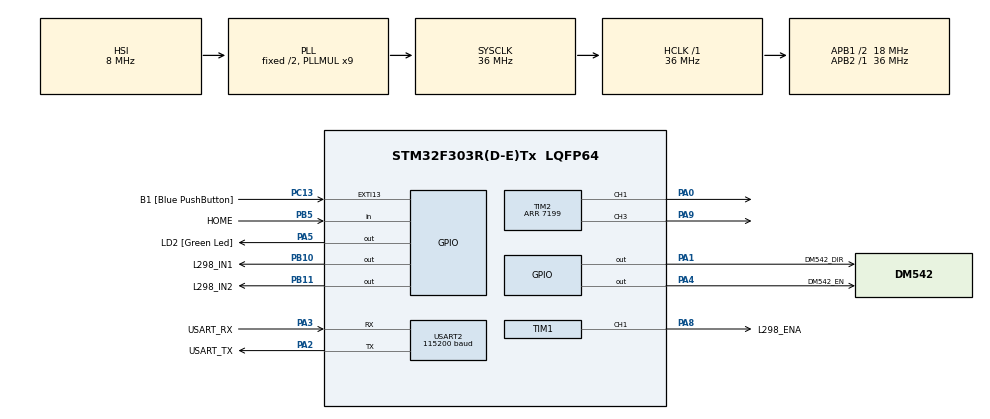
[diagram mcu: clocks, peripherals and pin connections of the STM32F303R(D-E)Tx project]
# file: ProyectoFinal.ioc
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Mcu.Family=STM32F3
Mcu.Name=STM32F303R(D-E)Tx
Mcu.Package=LQFP64
NVIC.PriorityGroup=NVIC_PRIORITYGROUP_0
NVIC.TIM2_IRQn=true\:0\:0\:false\:false\:true\:true\:true\:true
PA0.Signal=S_TIM2_CH1_ETR
PA1.GPIO_Label=DM542_DIR
PA1.Signal=GPIO_Output
PA13.GPIO_Label=TMS
PA13.Mode=Serial_Wire
PA13.Signal=SYS_JTMS-SWDIO
PA14.GPIO_Label=TCK
PA14.Mode=Serial_Wire
PA14.Signal=SYS_JTCK-SWCLK
PA2.GPIO_Label=USART_TX
PA2.GPIO_Mode=GPIO_MODE_AF_PP
PA2.GPIO_PuPd=GPIO_NOPULL
PA2.GPIO_Speed=GPIO_SPEED_FREQ_LOW
PA2.Mode=Asynchronous
PA2.Signal=USART2_TX
PA3.GPIO_Label=USART_RX
PA3.GPIO_Mode=GPIO_MODE_AF_PP
PA3.GPIO_PuPd=GPIO_NOPULL
PA3.GPIO_Speed=GPIO_SPEED_FREQ_LOW
PA3.Mode=Asynchronous
PA3.Signal=USART2_RX
PA4.GPIO_Label=DM542_EN
PA4.Signal=GPIO_Output
PA5.GPIO_Label=LD2 [Green Led]
PA5.GPIO_Mode=GPIO_MODE_OUTPUT_PP
PA5.GPIO_PuPd=GPIO_PULLUP
PA5.GPIO_Speed=GPIO_SPEED_FREQ_LOW
PA5.Signal=GPIO_Output
PA8.GPIO_Label=L298_ENA
PA8.Signal=S_TIM1_CH1
PA9.Signal=S_TIM2_CH3
PB10.GPIO_Label=L298_IN1
PB10.Signal=GPIO_Output
PB11.GPIO_Label=L298_IN2
PB11.Signal=GPIO_Output
PB13.Signal=TIM1_CH1N
PB3.GPIO_Label=SWO
PB3.Signal=SYS_JTDO-TRACESWO
PB5.GPIO_Label=HOME
PB5.Signal=GPIO_Input
PC13.GPIO_Label=B1 [Blue PushButton]
PC13.GPIO_ModeDefaultEXTI=GPIO_MODE_IT_FALLING
PC13.Signal=GPXTI13
PC14-OSC32_IN.Mode=LSE-External-Oscillator
PC14-OSC32_IN.Signal=RCC_OSC32_IN
PC15-OSC32_OUT.Mode=LSE-External-Oscillator
PC15-OSC32_OUT.Signal=RCC_OSC32_OUT
PF0-OSC_IN.Mode=HSE-External-Clock-Source
PF0-OSC_IN.Signal=RCC_OSC_IN
PF1-OSC_OUT.Signal=RCC_OSC_OUT
ProjectManager.HeapSize=0x200
ProjectManager.StackSize=0x400
ProjectManager.TargetToolchain=STM32CubeIDE
RCC.AHBFreq_Value=36000000
RCC.APB1CLKDivider=RCC_HCLK_DIV2
RCC.APB1Freq_Value=18000000
RCC.APB1TimFreq_Value=36000000
RCC.APB2Freq_Value=36000000
RCC.APB2TimFreq_Value=36000000
RCC.CortexFreq_Value=36000000
RCC.HCLKFreq_Value=36000000
RCC.HSE_VALUE=8000000
RCC.HSI_VALUE=8000000
RCC.PLLM=8
RCC.PLLMUL=RCC_PLL_MUL9
RCC.PLLN=336
RCC.PLLP=RCC_PLLP_DIV4
RCC.PLLQ=7
RCC.RCC_PLLsource_Clock_Source_FROM_HSE=RCC_HSE_PREDIV_DIV2
RCC.SYSCLKFreq_VALUE=36000000
RCC.SYSCLKSourceVirtual=RCC_SYSCLKSOURCE_PLLCLK
RCC.USBFreq_Value=36000000
SH.S_TIM1_CH1.0=TIM1_CH1,PWM Generation1 CH1
SH.S_TIM2_CH1_ETR.0=TIM2_CH1,PWM Generation1 CH1
SH.S_TIM2_CH3.0=TIM2_CH3,PWM Generation3 CH3
TIM1.AutoReloadPreload=TIM_AUTORELOAD_PRELOAD_ENABLE
TIM1.Channel-PWM\ Generation1\ CH1=TIM_CHANNEL_1
TIM1.CounterMode=TIM_COUNTERMODE_UP
TIM1.Period=7199
TIM1.Pulse-PWM\ Generation1\ CH1=1800
TIM2.AutoReloadPreload=TIM_AUTORELOAD_PRELOAD_ENABLE
TIM2.Channel-PWM\ Generation1\ CH1=TIM_CHANNEL_1
TIM2.Channel-PWM\ Generation3\ CH3=TIM_CHANNEL_3
TIM2.Period=7199
TIM2.Pulse-PWM\ Generation1\ CH1=3600
USART2.BaudRate=115200
USART2.VirtualMode-Asynchronous=VM_ASYNC
board=NUCLEO-F303RE

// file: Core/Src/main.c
/* USER CODE BEGIN Header */
/**
  ******************************************************************************
  * @file           : main.c
  * @brief          : Main program body
  ******************************************************************************
  * @attention
  *
  * Copyright (c) 2025 STMicroelectronics.
  * All rights reserved.
  *
  * This software is licensed under terms that can be found in the LICENSE file
  * in the root directory of this software component.
  * If no LICENSE file comes with this software, it is provided AS-IS.
  *
  ******************************************************************************
  */
/* USER CODE END Header */
#include "main.h"

/* USER CODE BEGIN Includes */
#include <math.h>
#include <stdbool.h>
#include <stdarg.h>
#include <stdio.h>
#include <stdlib.h>
#include <string.h>

/* USER CODE END Includes */

/* USER CODE BEGIN PD */

// ---------- MOVIMIENTO / REBOTE ----------
#define BOUNCE_DWELL_MS      120   // pausa breve al rebotar para evitar golpeteos mecánicos
#define LIMIT_CLEAR_MM       0.5f  // margen para rearmar la detección de límite (evita contar doble)

// ---------- EXTERN TIM HANDLES ----------
extern TIM_HandleTypeDef htim2;  // STEP (DM542) - TIM2 CH1
extern TIM_HandleTypeDef htim1;  // PWM H-Bridge    - TIM1 CH1/CH1N

// ---------- PINS ----------
#define DM542_DIR_Port      GPIOA
#define DM542_DIR_Pin       GPIO_PIN_1
#define DM542_EN_Port       GPIOA
#define DM542_EN_Pin        GPIO_PIN_4

#define BUTTON_Port         GPIOC     // Nucleo B1
#define BUTTON_Pin          GPIO_PIN_13

// Velocidad de homing (Hz de STEP)
#define FSTEP_HOME_HZ      200.0f   // ajustable: más lento = más suave para buscar HOME
#define FSTEP_RUN_HZ	250.0f
// ---------- CLOCK CACHE ----------
static uint32_t TIM2_Clk_Hz = 0;
static uint32_t TIM1_Clk_Hz = 0;

// ---------- CONFIGURACIÓN ENTRABLE POR CONSOLA (DUMMY por ahora) ----------
typedef struct {
  // STEP/DIR (geom)
  uint16_t steps_per_rev;       // pasos enteros por vuelta del motor p.ej. 200
  uint16_t microstepping;       // subdivisión por driver (x8, x16, etc.). Eleva la resolución y suaviza movimiento
  float    leadscrew_pitch_mm;  // avance lineal por vuelta del husillo (mm/vuelta), p.ej. 2.0
  float    traverse_width_mm;   // ancho total a cubrir del carrete. Útil para lógica de “rebotar” en extremos (auto-bounce).
  float    wire_diameter_mm;    // es tu “paso lateral” deseado por cada vuelta del carrete (si el carrete pone 1 capa por vuelta, avanzás ~el diámetro del hilo).
  // Carrete principal
  float    spool_diameter_mm;   // diámetro efectivo del carrete
  float    dc_target_rpm;       // “velocidad” deseada del carrete (dummy)
  float    hbridge_duty_0_to_1; // duty del PWM del H-bridge (dummy directo)
  // Objetivo de bobinado
  float    target_turns_total;  // vueltas objetivo de la bobina (0 = infinito / solo rebote)
  // Límites
  float    fstep_min_hz;
  float    fstep_max_hz;
  uint32_t traverse_passes_target; // 0 = infinito (rebota sin parar). Cuenta 1 cada vez que toca un extremo.
} BobbinConfig;

// Estado runtime
static volatile uint8_t g_step_dir = 0;     // 0/1
static float            g_step_freq_hz = 0; // monitoreo
#if defined(__GNUC__)
#define UNUSED_FUNC __attribute__((unused))
#else
#define UNUSED_FUNC
#endif

/* USER CODE END PD */

TIM_HandleTypeDef htim1;
TIM_HandleTypeDef htim2;

UART_HandleTypeDef huart2;

/* USER CODE BEGIN PV */
// Posición y límites en pasos (calculados desde cfg)

// Config por defecto para probar
static BobbinConfig cfg = {
    .steps_per_rev       = 400,
    .microstepping       = 1,
    // Medido en el banco: 1 vuelta del motor desplaza ~80 mm (correa HTD5 16T)
    .leadscrew_pitch_mm  = 8.0f,
    .traverse_width_mm   = 50.0f,
    .wire_diameter_mm    = 0.06f,
    .spool_diameter_mm   = 32.0f,
    .dc_target_rpm       = 37.25f,
    .hbridge_duty_0_to_1 = 0.6f,
    .target_turns_total  = 0.0f,  // 0 = no limitar por vueltas (usa solo rebote)
    .fstep_min_hz        = 50.0f,
    .fstep_max_hz        = 5000.0f,
    .traverse_passes_target = 0, // 0 = sin límite, rebota indefinidamente
};

static volatile int32_t g_pos_steps = 0;
static int32_t g_min_steps = 0;
static int32_t g_max_steps = 0;

static uint8_t s_backoff_done = 0;   // 0 = falta hacer el medio cm, 1 = ya hecho
static uint32_t g_traverse_passes_done = 0; // cuántas veces tocamos un extremo
static uint8_t  g_run_dir = 1;              // 1 = alejándose de HOME, 0 = yendo a HOME
static int32_t  g_limit_clear_steps = 0;    // margen en pasos para rearmar detección de límite
static uint8_t  g_homed_done = 0;           // 0 = aún no homingueó en esta sesión
static uint8_t  g_run_requested = 0;        // 1 = usuario pidió ciclo completo
static uint8_t  g_offset60_done = 0;        // 0 = aún no avanzó 60mm tras HOME

// ---------- ESTADOS DE LA MÁQUINA ----------
typedef enum {
  STATE_HOMING = 0,    // al encender vamos a HOME
  STATE_IDLE,          // quieto, esperando orden
  STATE_RUNNING        // después lo llenamos con el programa real
} MachineState_t;

static volatile MachineState_t g_state = STATE_HOMING;
static void SetState(MachineState_t new_state, const char *reason);

typedef enum {
  LIMIT_NONE = 0,
  LIMIT_MIN,
  LIMIT_MAX
} LimitHit_t;

static LimitHit_t g_last_limit_hit = LIMIT_NONE;

/* USER CODE END PV */

void SystemClock_Config(void);
static void MX_GPIO_Init(void);
static void MX_USART2_UART_Init(void);
static void MX_TIM1_Init(void);
static void MX_TIM2_Init(void);
/* USER CODE BEGIN PFP */

static uint32_t Timer_Get_Input_Clock(TIM_HandleTypeDef *htim);
static void     Steppers_Enable(bool en_low_active);
static void     Steppers_SetDir(uint8_t dir);
static HAL_StatusTypeDef Steppers_SetStepFreq_Hz(float f_hz);

static HAL_StatusTypeDef HBridge_SetPWM_Duty(float duty_0_to_1);
static HAL_StatusTypeDef HBridge_Start(void);
static void               HBridge_Stop(void);
static inline float steps_per_mm(const BobbinConfig *c) ;
static void DC_SetSpeed_0to1(float duty);
static void DC_StartForward(float duty);
static void DC_StartReverse(float duty);
static void DC_Brake(void);
static void DC_Coast(void);
static void Console_PrintInfo(void);

// Helpers demo
static float    Compute_Stepper_Freq_From_DC(const BobbinConfig *c);
static uint8_t  Button_Read(void);
static inline uint8_t HomeSensor_IsActive(void);
static void     Config_RecomputeDerived(void);
static void     Console_PrintBanner(void);
static void     PrintScaled(const char *label, float v, uint8_t decimals);

// Consola UART simple
static void     Console_Poll(void);
static void     Console_ProcessLine(char *line);
static void     Console_PrintHelp(void);
static void     Console_PrintConfig(void);
static void     Console_PrintStatus(void);

static void Machine_Task(void);

/* USER CODE END PFP */

/* USER CODE BEGIN 0 */

static void debug_printf(const char *fmt, ...)
{
    char buf[192]; // un poco más grande para logs con varios campos
    va_list args;
    va_start(args, fmt);
    vsnprintf(buf, sizeof(buf), fmt, args);
    va_end(args);

    HAL_UART_Transmit(&huart2, (uint8_t*)buf, strlen(buf), 20);
}

static void Console_PrintBanner(void)
{
  debug_printf("\r\n===============================\r\n");
  debug_printf(" Bobinador v1 (UART @115200)\r\n");
  debug_printf(" Comandos: HELP, CFG?, STAT?,\r\n");
  debug_printf("   WIRE x, TURNS x, RPM x, DUTY x,\r\n");
  debug_printf("   RUN, STOP, HOME\r\n");
  debug_printf(" Boton B1 o RUN: HOMING -> backoff -> bobinado\r\n");
  debug_printf("===============================\r\n\r\n");
}

static void PrintScaled(const char *label, float v, uint8_t decimals)
{
  static const int32_t pow10[] = {1, 10, 100, 1000, 10000};
  if (decimals > 4) decimals = 4;
  int32_t scale = pow10[decimals];
  int32_t scaled = (int32_t)lroundf(v * (float)scale);
  int32_t abs_scaled = (scaled < 0) ? -scaled : scaled;
  debug_printf("%s%ld.%0*d\r\n", label, scaled / scale, decimals, abs_scaled % scale);
}

static const char* StateName(MachineState_t s)
{
  switch (s) {
    case STATE_HOMING:  return "HOMING";
    case STATE_IDLE:    return "IDLE";
    case STATE_RUNNING: return "RUNNING";
    default:            return "?";
  }
}
static void SetState(MachineState_t new_state, const char *reason)
{
  MachineState_t old = g_state;
  if (old == new_state) return;
  g_state = new_state;
  if (reason) {
    debug_printf("[STATE] %s -> %s (%s)\r\n", StateName(old), StateName(new_state), reason);
  } else {
    debug_printf("[STATE] %s -> %s\r\n", StateName(old), StateName(new_state));
  }
}

// ======================== CONSOLA UART BÁSICA ========================

#define CONSOLE_RX_BUF_LEN  64
#define CONSOLE_ECHO        1
static char   s_console_buf[CONSOLE_RX_BUF_LEN];
static uint8_t s_console_idx = 0;

static void Console_Poll(void)
{
  uint8_t ch;
  if (HAL_UART_Receive(&huart2, &ch, 1, 0) == HAL_OK)
  {
    if (CONSOLE_ECHO)
    {
      if (ch == '\r' || ch == '\n') {
        const char crlf[] = "\r\n";
        HAL_UART_Transmit(&huart2, (uint8_t*)crlf, 2, 10);
      } else {
        HAL_UART_Transmit(&huart2, &ch, 1, 10);
      }
    }

    if (ch == '\r' || ch == '\n')
    {
      if (s_console_idx > 0)
      {
        s_console_buf[s_console_idx] = '\0';
        Console_ProcessLine(s_console_buf);
        s_console_idx = 0;
      }
    }
    else
    {
      if (s_console_idx < (CONSOLE_RX_BUF_LEN - 1))
      {
        s_console_buf[s_console_idx++] = (char)ch;
      }
    }
  }
}

static void Console_StrToUpper(char *s)
{
  while (*s)
  {
    if (*s >= 'a' && *s <= 'z') *s = (char)(*s - 'a' + 'A');
    s++;
  }
}

static int Console_ParseFloat(const char *p, float *out)
{
  while (*p == ' ' || *p == '\t' || *p == '=') p++;
  char *endp = NULL;
  float v = strtof(p, &endp);
  if (endp == p) return 0;
  *out = v;
  return 1;
}

static void Console_ProcessLine(char *line)
{
  // Hacemos una copia para comandos en mayúsculas
  char cmd[CONSOLE_RX_BUF_LEN];
  strncpy(cmd, line, sizeof(cmd) - 1);
  cmd[sizeof(cmd) - 1] = '\0';

  // Quitar espacios iniciales
  char *p = cmd;
  while (*p == ' ' || *p == '\t') p++;

  Console_StrToUpper(p);

  if (strcmp(p, "HELP") == 0)
  {
    Console_PrintHelp();
  }
  else if (strcmp(p, "CFG?") == 0)
  {
    Console_PrintConfig();
  }
  else if (strcmp(p, "INFO?") == 0)
  {
    Console_PrintInfo();
  }
  else if (strcmp(p, "STAT?") == 0)
  {
    Console_PrintStatus();
  }
  else if (strncmp(p, "WIRE", 4) == 0)
  {
    float v;
    if (Console_ParseFloat(p + 4, &v))
    {
      if (v > 0.0f)
      {
        cfg.wire_diameter_mm = v;
        debug_printf("[CFG] wire_diameter_mm=%.3f\r\n", cfg.wire_diameter_mm);
        Config_RecomputeDerived();
      }
    }
  }
  else if (strncmp(p, "TURNS", 5) == 0)
  {
    float v;
    if (Console_ParseFloat(p + 5, &v))
    {
      if (v < 0.0f) v = 0.0f;
      cfg.target_turns_total = v;
      debug_printf("[CFG] target_turns_total=%.1f\r\n", cfg.target_turns_total);
      Config_RecomputeDerived();
    }
  }
  else if (strncmp(p, "RPM", 3) == 0)
  {
    float v;
    if (Console_ParseFloat(p + 3, &v))
    {
      if (v < 0.0f) v = 0.0f;
      cfg.dc_target_rpm = v;
      debug_printf("[CFG] dc_target_rpm=%.1f\r\n", cfg.dc_target_rpm);
    }
  }
  else if (strncmp(p, "DUTY", 4) == 0)
  {
    float v;
    if (Console_ParseFloat(p + 4, &v))
    {
      if (v < 0.0f) v = 0.0f;
      if (v > 1.0f) v = 1.0f;
      cfg.hbridge_duty_0_to_1 = v;
      debug_printf("[CFG] hbridge_duty=%.2f\r\n", cfg.hbridge_duty_0_to_1);
    }
  }
  else if (strcmp(p, "RUN") == 0)
  {
    g_run_requested = 1;
    debug_printf("[CMD] RUN request\r\n");
  }
  else if (strcmp(p, "STOP") == 0)
  {
    Steppers_SetStepFreq_Hz(0.0f);
    DC_Brake();
    g_run_requested = 0;
    g_homed_done = HomeSensor_IsActive() ? 1 : g_homed_done;
    g_offset60_done = 0;
    SetState(STATE_IDLE, "STOP");
    debug_printf("[CMD] STOP -> IDLE\r\n");
  }
  else if (strcmp(p, "HOME") == 0)
  {
    s_backoff_done = 0;
    g_homed_done = 0;
    SetState(STATE_HOMING, "cmd HOME");
    debug_printf("[CMD] HOME -> STATE_HOMING\r\n");
  }
  else
  {
    debug_printf("[CMD] Desconocido. Usa HELP\r\n");
  }
}

static void Console_PrintHelp(void)
{
  debug_printf("\r\nComandos UART:\r\n");
  debug_printf("  HELP          : esta ayuda\r\n");
  debug_printf("  CFG?          : mostrar configuracion actual\r\n");
  debug_printf("  INFO?         : resumen derivado (vueltas capa, pasos/mm, fstep)\r\n");
  debug_printf("  STAT?         : estado y posicion\r\n");
  debug_printf("  WIRE x        : diametro hilo (mm)\r\n");
  debug_printf("  TURNS x       : vueltas objetivo totales (0=infinito)\r\n");
  debug_printf("  RPM x         : rpm objetivo carrete\r\n");
  debug_printf("  DUTY x        : duty DC [0..1]\r\n");
  debug_printf("  RUN           : iniciar bobinado (desde IDLE)\r\n");
  debug_printf("  STOP          : frenar y pasar a IDLE\r\n");
  debug_printf("  HOME          : volver a hacer homing\r\n\r\n");
}

static void Console_PrintConfig(void)
{
  debug_printf("CFG: steps=%u micro=%u pitch=%.3fmm width=%.1fmm\r\n",
               cfg.steps_per_rev, cfg.microstepping,
               cfg.leadscrew_pitch_mm, cfg.traverse_width_mm);
  debug_printf("CFG: wire=%.3fmm target_turns=%.1f\r\n",
               cfg.wire_diameter_mm, cfg.target_turns_total);
  debug_printf("CFG: dc_rpm=%.1f duty=%.2f\r\n",
               cfg.dc_target_rpm, cfg.hbridge_duty_0_to_1);
  debug_printf("CFG: fstep[min,max]=[%.1f, %.1f]Hz passes_target=%lu\r\n",
               cfg.fstep_min_hz, cfg.fstep_max_hz,
               (unsigned long)cfg.traverse_passes_target);
}

static void Console_PrintStatus(void)
{
  debug_printf("STAT: state=%s pos=%ld dir=%u passes=%lu/%lu HOME=%u\r\n",
               StateName(g_state), g_pos_steps, g_run_dir,
               (unsigned long)g_traverse_passes_done,
               (unsigned long)cfg.traverse_passes_target,
               HomeSensor_IsActive());
}

static void Console_PrintInfo(void)
{
  float k_spmm = steps_per_mm(&cfg);
  float turns_per_layer = (cfg.wire_diameter_mm > 0.0f) ? (cfg.traverse_width_mm / cfg.wire_diameter_mm) : 0.0f;
  float fstep = Compute_Stepper_Freq_From_DC(&cfg);
  debug_printf("INFO: steps/mm=%.1f turns/layer=%.1f target_turns=%.1f\r\n",
               k_spmm, turns_per_layer, cfg.target_turns_total);
  debug_printf("INFO: passes_target=%lu (0=inf) fstep_calc=%.1f Hz\r\n",
               (unsigned long)cfg.traverse_passes_target, fstep);
}

static inline float steps_per_mm(const BobbinConfig *c) {
  return ((float)c->steps_per_rev * (float)c->microstepping) / c->leadscrew_pitch_mm;
}

// Recalcula valores derivados de cfg (pasadas objetivo y márgenes de límite)
static void Config_RecomputeDerived(void)
{
  float k_steps_per_mm = steps_per_mm(&cfg);
  g_limit_clear_steps = (int32_t)lroundf(LIMIT_CLEAR_MM * k_steps_per_mm);
  if (g_limit_clear_steps < 1) g_limit_clear_steps = 1;

  if (cfg.target_turns_total > 0.0f &&
      cfg.traverse_width_mm > 0.0f &&
      cfg.wire_diameter_mm > 0.0f)
  {
    float turns_per_layer = cfg.traverse_width_mm / cfg.wire_diameter_mm; // vueltas por capa
    float layers = cfg.target_turns_total / turns_per_layer;             // capas necesarias
    float passes_f = layers * 2.0f;                                      // 2 extremos por capa
    if (passes_f < 1.0f) passes_f = 1.0f;
    cfg.traverse_passes_target = (uint32_t)lroundf(passes_f);
  }
  else
  {
    cfg.traverse_passes_target = 0; // rebote infinito si no hay objetivo de vueltas
  }
}

static uint32_t Timer_Get_Input_Clock(TIM_HandleTypeDef *htim)
{
  RCC_ClkInitTypeDef clk;
  uint32_t flash;
  HAL_RCC_GetClockConfig(&clk, &flash);

  uint32_t pclk, mul = 1;
  if (htim->Instance == TIM1) {
    pclk = HAL_RCC_GetPCLK2Freq();
    if (clk.APB2CLKDivider != RCC_HCLK_DIV1) mul = 2;
  } else {
    pclk = HAL_RCC_GetPCLK1Freq();
    if (clk.APB1CLKDivider != RCC_HCLK_DIV1) mul = 2;
  }
  return pclk * mul;
}

/*********** DM542 (STEP/DIR) ***********/
static void Steppers_Enable(bool en_low_active)
{
  if (en_low_active) HAL_GPIO_WritePin(DM542_EN_Port, DM542_EN_Pin, GPIO_PIN_RESET);
  else               HAL_GPIO_WritePin(DM542_EN_Port, DM542_EN_Pin, GPIO_PIN_SET);
}

static void Steppers_SetDir(uint8_t dir)
{
  g_step_dir = (dir ? 1 : 0);
  HAL_GPIO_WritePin(DM542_DIR_Port, DM542_DIR_Pin, g_step_dir ? GPIO_PIN_SET : GPIO_PIN_RESET);
}

// PWM STEP a frecuencia deseada, garantizando pulso >= ~3us
static HAL_StatusTypeDef Steppers_SetStepFreq_Hz(float f_hz)
{
  if (f_hz <= 0.0f) {
    HAL_TIM_PWM_Stop(&htim2, TIM_CHANNEL_1);
    g_step_freq_hz = 0.0f;
    return HAL_OK;
  }

  if (f_hz < cfg.fstep_min_hz) f_hz = cfg.fstep_min_hz;
  if (f_hz > cfg.fstep_max_hz) f_hz = cfg.fstep_max_hz;

  const uint32_t tim_clk = TIM2_Clk_Hz;
  uint32_t best_psc = 0, best_arr = 0;
  float err_min = 1e9f;

  for (uint32_t psc = 0; psc <= 0xFFFF; psc++) {
    float arr_f = (tim_clk / ((psc + 1.0f) * f_hz)) - 1.0f;
    if (arr_f < 1.0f || arr_f > 65534.0f) continue;
    uint32_t arr = (uint32_t)lroundf(arr_f);
    float f_real = tim_clk / ((psc + 1.0f) * (arr + 1.0f));
    float err = fabsf((f_real - f_hz) / f_hz);
    if (err < err_min) { err_min = err; best_psc = psc; best_arr = arr; if (err < 5e-4f) break; }
  }
  if (err_min >= 1e8f) return HAL_ERROR;

  uint32_t ccr = (best_arr + 1) / 2; // 50%
  // Asegurar ancho de pulso >= 3us
  float t_high = ((ccr) * (best_psc + 1.0f)) / (float)tim_clk;
  if (t_high < 3e-6f) {
    uint32_t min_ccr = (uint32_t)ceilf(3e-6f * tim_clk / (best_psc + 1.0f));
    if (min_ccr > best_arr) min_ccr = best_arr;
    ccr = min_ccr;
  }

  __HAL_TIM_DISABLE(&htim2);
  htim2.Instance->PSC  = best_psc;
  htim2.Instance->ARR  = best_arr;
  htim2.Instance->CCR1 = ccr;
  __HAL_TIM_ENABLE(&htim2);

  HAL_TIM_PWM_Start(&htim2, TIM_CHANNEL_1);
  g_step_freq_hz = tim_clk / ((best_psc + 1.0f) * (best_arr + 1.0f));
  return HAL_OK;
}

/*********** Lógica de demo / placeholders ***********/

typedef enum { HBR_COAST = 0, HBR_BRAKE, HBR_FWD, HBR_REV } HBrMode;

static inline void HBridge_SetMode(HBrMode m)
{
  switch (m) {
    case HBR_FWD:
      HAL_GPIO_WritePin(L298_IN1_GPIO_Port, L298_IN1_Pin, GPIO_PIN_SET);
      HAL_GPIO_WritePin(L298_IN2_GPIO_Port, L298_IN2_Pin, GPIO_PIN_RESET);
      break;
    case HBR_REV:
      HAL_GPIO_WritePin(L298_IN1_GPIO_Port, L298_IN1_Pin, GPIO_PIN_RESET);
      HAL_GPIO_WritePin(L298_IN2_GPIO_Port, L298_IN2_Pin, GPIO_PIN_SET);
      break;
    case HBR_BRAKE:
      HAL_GPIO_WritePin(L298_IN1_GPIO_Port, L298_IN1_Pin, GPIO_PIN_SET);
      HAL_GPIO_WritePin(L298_IN2_GPIO_Port, L298_IN2_Pin, GPIO_PIN_SET);
      break;
    default: // HBR_COAST
      HAL_GPIO_WritePin(L298_IN1_GPIO_Port, L298_IN1_Pin, GPIO_PIN_RESET);
      HAL_GPIO_WritePin(L298_IN2_GPIO_Port, L298_IN2_Pin, GPIO_PIN_RESET);
      break;
  }
}

// ================== CONTROL DE MOTOR DC (CARRETE) ==================

/*********** H-Bridge PWM: código usa TIM2 CH3 (PA9); el pin L298_ENA en main.h está en PA8/TIM1 ***********/
static HAL_StatusTypeDef HBridge_SetPWM_Duty(float duty_0_to_1)
{
  if (duty_0_to_1 < 0.0f) duty_0_to_1 = 0.0f;
  if (duty_0_to_1 > 1.0f) duty_0_to_1 = 1.0f;

  uint32_t arr = __HAL_TIM_GET_AUTORELOAD(&htim2);
  uint32_t ccr = (uint32_t)lroundf(duty_0_to_1 * (float)arr);
  __HAL_TIM_SET_COMPARE(&htim2, TIM_CHANNEL_3, ccr);
  return HAL_OK;
}

static HAL_StatusTypeDef HBridge_Start(void)
{
  return HAL_TIM_PWM_Start(&htim2, TIM_CHANNEL_3);
}

static void HBridge_Stop(void)
{
  HAL_TIM_PWM_Stop(&htim2, TIM_CHANNEL_3);
}

static void DC_SetSpeed_0to1(float duty)
{
  // Limitar duty a [0, 1]
  if (duty < 0.0f) duty = 0.0f;
  if (duty > 1.0f) duty = 1.0f;

  HBridge_SetPWM_Duty(duty);
}

static void DC_StartForward(float duty)
{
  DC_SetSpeed_0to1(duty);     // fija el duty
  HBridge_SetMode(HBR_FWD);   // IN1=1, IN2=0
  HBridge_Start();            // arranca el PWM en TIM2_CH3
}

static void DC_StartReverse(float duty)
{
  DC_SetSpeed_0to1(duty);
  HBridge_SetMode(HBR_REV);   // IN1=0, IN2=1
  HBridge_Start();
}

static void DC_Brake(void)
{
  HBridge_SetMode(HBR_BRAKE); // IN1=1, IN2=1
  DC_SetSpeed_0to1(0.0f);     // sin PWM
}

static void DC_Coast(void)
{
  HBridge_SetMode(HBR_COAST); // IN1=0, IN2=0
  DC_SetSpeed_0to1(0.0f);
  HBridge_Stop();             // opcional, apaga PWM
}

// Sensor inductivo: activo en 0 (salida a 0 cuando está en HOME)

static inline uint8_t HomeSensor_IsActive(void)
{
  return (HAL_GPIO_ReadPin(HOME_GPIO_Port, HOME_Pin) == GPIO_PIN_RESET) ? 1 : 0;
}

// Calcula la frecuencia de STEP (Hz) a partir de la config de bobinado
// Idea: por cada vuelta del carrete (RPM), el carro avanza aprox 1 diámetro de hilo.
static float Compute_Stepper_Freq_From_DC(const BobbinConfig *c)
{
  // Vueltas del carrete por segundo
  float rev_per_s = c->dc_target_rpm / 60.0f;

  // Velocidad lineal del carro para que avance 1 diámetro de hilo por vuelta del carrete
  float traverse_mm_per_s = c->wire_diameter_mm * rev_per_s;

  // Pasos por mm del eje del carro
  float k_steps_mm = steps_per_mm(c);

  // Frecuencia de pasos necesaria
  float f = traverse_mm_per_s * k_steps_mm;

  // Clampeo a los límites configurados
  if (f < c->fstep_min_hz) f = c->fstep_min_hz;
  if (f > c->fstep_max_hz) f = c->fstep_max_hz;

  return f;
}

// Lee el botón de START (Nucleo B1 en PC13, activo en 0 lógico)
static uint8_t Button_Read(void)
{
  GPIO_PinState st = HAL_GPIO_ReadPin(BUTTON_Port, BUTTON_Pin);
  // En las Nucleo el botón está a 1 sin apretar y va a 0 al apretar
  return (st == GPIO_PIN_RESET) ? 1 : 0;
}

/* USER CODE END 0 */

int main(void)
{

  /* MCU Configuration--------------------------------------------------------*/

  /* Reset of all peripherals, Initializes the Flash interface and the Systick. */
   HAL_Init();

  /* Configure the system clock */
  SystemClock_Config();

  /* Initialize all configured peripherals */
  MX_GPIO_Init();
  MX_USART2_UART_Init();
  MX_TIM1_Init();
  MX_TIM2_Init();

  /* USER CODE BEGIN 2 */

  // Guardar clocks de los timers (útil para el cálculo de frecuencia del STEP)

  TIM2_Clk_Hz = Timer_Get_Input_Clock(&htim2);
  TIM1_Clk_Hz = Timer_Get_Input_Clock(&htim1);

  // DM542: habilitar driver y fijar sentido hacia HOME
  Steppers_Enable(true);          // EN activo en bajo (ajustar si tu driver es al revés)
  Steppers_SetDir(0);             // 0 ó 1 → elegí el que vaya "hacia el sensor HOME"
  Steppers_SetStepFreq_Hz(0.0f);  // arrancamos parado, Machine_Task lo pone en marcha

  // Motor DC del carrete: arrancar hacia adelante al duty configurado
  DC_StartForward(cfg.hbridge_duty_0_to_1);

  // Calcular límites virtuales de recorrido a partir de la config de usuario
  float k_steps_per_mm = steps_per_mm(&cfg);
  g_min_steps = 0;
  g_max_steps = (int32_t)lroundf(cfg.traverse_width_mm * k_steps_per_mm);
  g_pos_steps = 0;                // después de HOME, este será nuestro origen
  g_traverse_passes_done = 0;
  g_run_dir = 1;                  // alejándose de HOME (positivo)
  g_last_limit_hit = LIMIT_NONE;
  Config_RecomputeDerived();

  // Habilitar interrupción de actualización de TIM2 para contar pasos
  __HAL_TIM_CLEAR_FLAG(&htim2, TIM_FLAG_UPDATE);
  __HAL_TIM_ENABLE_IT(&htim2, TIM_IT_UPDATE);

  // Estado inicial de la máquina: arrancamos haciendo HOMING
  g_state = STATE_IDLE; // esperamos botón para iniciar homing
  g_homed_done = 0;
  g_run_requested = 0;

  Console_PrintBanner();
  debug_printf("[STATE] BOOT -> IDLE (espera RUN/B1)\r\n");

  // H-bridge del carrete: modo y duty inicial
  // Si querés el DC apagado durante homing:
  //   HBridge_SetMode(HBR_COAST);
  //   HBridge_SetPWM_Duty(0.0f);
  // Si querés que ya gire:
  HBridge_SetMode(HBR_FWD);
  HBridge_SetPWM_Duty(cfg.hbridge_duty_0_to_1);

  /* USER CODE END 2 */

  /* Infinite loop */
  while (1)
  {

    /* USER CODE BEGIN 3 */

// Máquina de estados principal:
// - STATE_HOMING: buscar sensor HOME y fijar origen (se activa al inicio o por botón si no se homingueó)
// - STATE_IDLE: quieto esperando orden
// - STATE_RUNNING: programa de bobinado
    Machine_Task();

    // Consola UART no bloqueante
    Console_Poll();

    // Pequeño delay para no saturar la CPU ni el bus
    HAL_Delay(10);

  }
  /* USER CODE END 3 */
}

void SystemClock_Config(void)
{
  RCC_OscInitTypeDef RCC_OscInitStruct = {0};
  RCC_ClkInitTypeDef RCC_ClkInitStruct = {0};
  RCC_PeriphCLKInitTypeDef PeriphClkInit = {0};

  /** Initializes the RCC Oscillators according to the specified parameters
  * in the RCC_OscInitTypeDef structure.
  */
  RCC_OscInitStruct.OscillatorType = RCC_OSCILLATORTYPE_HSI;
  RCC_OscInitStruct.HSIState = RCC_HSI_ON;
  RCC_OscInitStruct.HSICalibrationValue = RCC_HSICALIBRATION_DEFAULT;
  RCC_OscInitStruct.PLL.PLLState = RCC_PLL_ON;
  RCC_OscInitStruct.PLL.PLLSource = RCC_PLLSOURCE_HSI;
  RCC_OscInitStruct.PLL.PLLMUL = RCC_PLL_MUL9;
  RCC_OscInitStruct.PLL.PREDIV = RCC_PREDIV_DIV1;
  if (HAL_RCC_OscConfig(&RCC_OscInitStruct) != HAL_OK)
  {
    Error_Handler();
  }

  /** Initializes the CPU, AHB and APB buses clocks
  */
  RCC_ClkInitStruct.ClockType = RCC_CLOCKTYPE_HCLK|RCC_CLOCKTYPE_SYSCLK
                              |RCC_CLOCKTYPE_PCLK1|RCC_CLOCKTYPE_PCLK2;
  RCC_ClkInitStruct.SYSCLKSource = RCC_SYSCLKSOURCE_PLLCLK;
  RCC_ClkInitStruct.AHBCLKDivider = RCC_SYSCLK_DIV1;
  RCC_ClkInitStruct.APB1CLKDivider = RCC_HCLK_DIV2;
  RCC_ClkInitStruct.APB2CLKDivider = RCC_HCLK_DIV1;

  if (HAL_RCC_ClockConfig(&RCC_ClkInitStruct, FLASH_LATENCY_1) != HAL_OK)
  {
    Error_Handler();
  }
  PeriphClkInit.PeriphClockSelection = RCC_PERIPHCLK_USART2|RCC_PERIPHCLK_TIM1
                              |RCC_PERIPHCLK_TIM2;
  PeriphClkInit.Usart2ClockSelection = RCC_USART2CLKSOURCE_PCLK1;
  PeriphClkInit.Tim1ClockSelection = RCC_TIM1CLK_HCLK;
  PeriphClkInit.Tim2ClockSelection = RCC_TIM2CLK_HCLK;
  if (HAL_RCCEx_PeriphCLKConfig(&PeriphClkInit) != HAL_OK)
  {
    Error_Handler();
  }
}

static void MX_TIM1_Init(void)
{

  TIM_MasterConfigTypeDef sMasterConfig = {0};
  TIM_OC_InitTypeDef sConfigOC = {0};
  TIM_BreakDeadTimeConfigTypeDef sBreakDeadTimeConfig = {0};

  htim1.Instance = TIM1;
  htim1.Init.Prescaler = 0;
  htim1.Init.CounterMode = TIM_COUNTERMODE_UP;
  htim1.Init.Period = 7199;
  htim1.Init.ClockDivision = TIM_CLOCKDIVISION_DIV1;
  htim1.Init.RepetitionCounter = 0;
  htim1.Init.AutoReloadPreload = TIM_AUTORELOAD_PRELOAD_ENABLE;
  if (HAL_TIM_PWM_Init(&htim1) != HAL_OK)
  {
    Error_Handler();
  }
  sMasterConfig.MasterOutputTrigger = TIM_TRGO_RESET;
  sMasterConfig.MasterOutputTrigger2 = TIM_TRGO2_RESET;
  sMasterConfig.MasterSlaveMode = TIM_MASTERSLAVEMODE_DISABLE;
  if (HAL_TIMEx_MasterConfigSynchronization(&htim1, &sMasterConfig) != HAL_OK)
  {
    Error_Handler();
  }
  sConfigOC.OCMode = TIM_OCMODE_PWM1;
  sConfigOC.Pulse = 1800;
  sConfigOC.OCPolarity = TIM_OCPOLARITY_HIGH;
  sConfigOC.OCNPolarity = TIM_OCNPOLARITY_HIGH;
  sConfigOC.OCFastMode = TIM_OCFAST_DISABLE;
  sConfigOC.OCIdleState = TIM_OCIDLESTATE_RESET;
  sConfigOC.OCNIdleState = TIM_OCNIDLESTATE_RESET;
  if (HAL_TIM_PWM_ConfigChannel(&htim1, &sConfigOC, TIM_CHANNEL_1) != HAL_OK)
  {
    Error_Handler();
  }
  sBreakDeadTimeConfig.OffStateRunMode = TIM_OSSR_DISABLE;
  sBreakDeadTimeConfig.OffStateIDLEMode = TIM_OSSI_DISABLE;
  sBreakDeadTimeConfig.LockLevel = TIM_LOCKLEVEL_OFF;
  sBreakDeadTimeConfig.DeadTime = 0;
  sBreakDeadTimeConfig.BreakState = TIM_BREAK_DISABLE;
  sBreakDeadTimeConfig.BreakPolarity = TIM_BREAKPOLARITY_HIGH;
  sBreakDeadTimeConfig.BreakFilter = 0;
  sBreakDeadTimeConfig.Break2State = TIM_BREAK2_DISABLE;
  sBreakDeadTimeConfig.Break2Polarity = TIM_BREAK2POLARITY_HIGH;
  sBreakDeadTimeConfig.Break2Filter = 0;
  sBreakDeadTimeConfig.AutomaticOutput = TIM_AUTOMATICOUTPUT_DISABLE;
  if (HAL_TIMEx_ConfigBreakDeadTime(&htim1, &sBreakDeadTimeConfig) != HAL_OK)
  {
    Error_Handler();
  }
  HAL_TIM_MspPostInit(&htim1);

}

static void MX_TIM2_Init(void)
{

  TIM_MasterConfigTypeDef sMasterConfig = {0};
  TIM_OC_InitTypeDef sConfigOC = {0};

  htim2.Instance = TIM2;
  htim2.Init.Prescaler = 0;
  htim2.Init.CounterMode = TIM_COUNTERMODE_UP;
  htim2.Init.Period = 7199;
  htim2.Init.ClockDivision = TIM_CLOCKDIVISION_DIV1;
  htim2.Init.AutoReloadPreload = TIM_AUTORELOAD_PRELOAD_ENABLE;
  if (HAL_TIM_PWM_Init(&htim2) != HAL_OK)
  {
    Error_Handler();
  }
  sMasterConfig.MasterOutputTrigger = TIM_TRGO_RESET;
  sMasterConfig.MasterSlaveMode = TIM_MASTERSLAVEMODE_DISABLE;
  if (HAL_TIMEx_MasterConfigSynchronization(&htim2, &sMasterConfig) != HAL_OK)
  {
    Error_Handler();
  }
  sConfigOC.OCMode = TIM_OCMODE_PWM1;
  sConfigOC.Pulse = 3600;
  sConfigOC.OCPolarity = TIM_OCPOLARITY_HIGH;
  sConfigOC.OCFastMode = TIM_OCFAST_DISABLE;
  if (HAL_TIM_PWM_ConfigChannel(&htim2, &sConfigOC, TIM_CHANNEL_1) != HAL_OK)
  {
    Error_Handler();
  }
  sConfigOC.Pulse = 0;
  if (HAL_TIM_PWM_ConfigChannel(&htim2, &sConfigOC, TIM_CHANNEL_3) != HAL_OK)
  {
    Error_Handler();
  }
  HAL_TIM_MspPostInit(&htim2);

}

static void MX_USART2_UART_Init(void)
{

  huart2.Instance = USART2;
  huart2.Init.BaudRate = 115200;
  huart2.Init.WordLength = UART_WORDLENGTH_8B;
  huart2.Init.StopBits = UART_STOPBITS_1;
  huart2.Init.Parity = UART_PARITY_NONE;
  huart2.Init.Mode = UART_MODE_TX_RX;
  huart2.Init.HwFlowCtl = UART_HWCONTROL_NONE;
  huart2.Init.OverSampling = UART_OVERSAMPLING_16;
  huart2.Init.OneBitSampling = UART_ONE_BIT_SAMPLE_DISABLE;
  huart2.AdvancedInit.AdvFeatureInit = UART_ADVFEATURE_NO_INIT;
  if (HAL_UART_Init(&huart2) != HAL_OK)
  {
    Error_Handler();
  }

}

static void MX_GPIO_Init(void)
{
  GPIO_InitTypeDef GPIO_InitStruct = {0};

  /* GPIO Ports Clock Enable */
  __HAL_RCC_GPIOC_CLK_ENABLE();
  __HAL_RCC_GPIOF_CLK_ENABLE();
  __HAL_RCC_GPIOA_CLK_ENABLE();
  __HAL_RCC_GPIOB_CLK_ENABLE();

  /*Configure GPIO pin Output Level */
  HAL_GPIO_WritePin(GPIOA, DM542_DIR_Pin|DM542_EN_Pin|LD2_Pin, GPIO_PIN_RESET);

  /*Configure GPIO pin Output Level */
  HAL_GPIO_WritePin(GPIOB, L298_IN1_Pin|L298_IN2_Pin, GPIO_PIN_RESET);

  /*Configure GPIO pin : B1_Pin */
  GPIO_InitStruct.Pin = B1_Pin;
  GPIO_InitStruct.Mode = GPIO_MODE_IT_FALLING;
  GPIO_InitStruct.Pull = GPIO_NOPULL;
  HAL_GPIO_Init(B1_GPIO_Port, &GPIO_InitStruct);

  /*Configure GPIO pins : DM542_DIR_Pin DM542_EN_Pin */
  GPIO_InitStruct.Pin = DM542_DIR_Pin|DM542_EN_Pin;
  GPIO_InitStruct.Mode = GPIO_MODE_OUTPUT_PP;
  GPIO_InitStruct.Pull = GPIO_NOPULL;
  GPIO_InitStruct.Speed = GPIO_SPEED_FREQ_LOW;
  HAL_GPIO_Init(GPIOA, &GPIO_InitStruct);

  /*Configure GPIO pin : LD2_Pin */
  GPIO_InitStruct.Pin = LD2_Pin;
  GPIO_InitStruct.Mode = GPIO_MODE_OUTPUT_PP;
  GPIO_InitStruct.Pull = GPIO_PULLUP;
  GPIO_InitStruct.Speed = GPIO_SPEED_FREQ_LOW;
  HAL_GPIO_Init(LD2_GPIO_Port, &GPIO_InitStruct);

  /*Configure GPIO pins : L298_IN1_Pin L298_IN2_Pin */
  GPIO_InitStruct.Pin = L298_IN1_Pin|L298_IN2_Pin;
  GPIO_InitStruct.Mode = GPIO_MODE_OUTPUT_PP;
  GPIO_InitStruct.Pull = GPIO_NOPULL;
  GPIO_InitStruct.Speed = GPIO_SPEED_FREQ_LOW;
  HAL_GPIO_Init(GPIOB, &GPIO_InitStruct);

  /*Configure GPIO pin : HOME_Pin */
  GPIO_InitStruct.Pin = HOME_Pin;
  GPIO_InitStruct.Mode = GPIO_MODE_INPUT;
  GPIO_InitStruct.Pull = GPIO_NOPULL;
  HAL_GPIO_Init(HOME_GPIO_Port, &GPIO_InitStruct);

}

/* USER CODE BEGIN 4 */

// Tarea principal de la máquina de estados
static void Machine_Task(void)
{
  switch (g_state) {

  case STATE_HOMING:

	// 1) Asegurar dirección hacia el sensor HOME
    //    Elegí el sentido correcto según cómo esté montado.
    Steppers_SetDir(1);                         // 1 va a home , 0 va a afuera

    // 2) Asegurar que el stepper esté moviéndose a velocidad de homing
    Steppers_SetStepFreq_Hz(FSTEP_HOME_HZ);

    // 3) Chequear sensor HOME
    if (HomeSensor_IsActive()) {
      // Llegamos al sensor: detener stepper y fijar origen
      Steppers_SetStepFreq_Hz(0.0f);
      HAL_Delay(700);
      g_pos_steps = 0;
      g_min_steps = 0;      // podés redefinir límites acá si querés
      // g_max_steps ya lo calculaste antes con traverse_width_mm
	      g_homed_done = 1;
	      s_backoff_done = 0;   // después del homing haremos el retroceso de 5 mm
	      g_offset60_done = 0;  // todavía no hicimos el avance de 60mm

      // Más adelante acá podés hacer un backoff (retroceder unos pasos)
      // si necesitás separar del sensor físico.

      debug_printf("[HOMING] Detectado HOME. pos=0\r\n");
	  SetState(STATE_IDLE, "homing completado");

    }
    break;

  case STATE_IDLE:
  {

    // Botón START siempre marca el pedido de ciclo
    if (Button_Read())
    {
      g_run_requested = 1;
      debug_printf("[IDLE] START recibido\r\n");
    }

    // Si no hay pedido de ciclo, quieto
    Steppers_SetStepFreq_Hz(0.0f);
    if (!g_run_requested) break;

    // Si el sensor está activo, damos por homing hecho
    if (HomeSensor_IsActive()) {
      g_homed_done = 1;
      g_pos_steps = 0;
    }

    // 1) Si todavía NO se hizo homing en esta sesión, ir a HOMING
    if (!g_homed_done)
    {
      SetState(STATE_HOMING, "pedido de ciclo");
      break;
    }

    // 2) Tras HOMING, avanzar primero 60mm alejándonos de HOME antes de entrar a RUNNING
    if (!g_offset60_done)
    {
      float k_spmm = steps_per_mm(&cfg);
      int32_t target_steps = (int32_t)lroundf(60.0f * k_spmm); // 60mm desde HOME
      // Evitar quedar justo en el límite para no rebotar al instante
      int32_t max_target = g_max_steps - g_limit_clear_steps;
      if (max_target < 0) max_target = 0;
      if (target_steps > max_target) target_steps = max_target;

      // Dirección alejándose de HOME (incrementa posición)
      g_run_dir = 0;
      Steppers_SetDir(g_run_dir);

      if (g_pos_steps < target_steps)
      {
        // Seguimos avanzando hacia los 60mm
        Steppers_SetStepFreq_Hz(FSTEP_HOME_HZ);
        debug_printf("[IDLE] Offset 60mm: pos=%ld steps, target=%ld\r\n",
                     (long)g_pos_steps, (long)target_steps);
        break; // aún no llegamos, no pasar a RUNNING
      }

      // Llegamos (o superamos levemente) los 60mm
      Steppers_SetStepFreq_Hz(0.0f);
      g_offset60_done = 1;
      // Re-centrar coordenadas: este punto pasa a ser pos=0/min=0
      g_pos_steps = 0;
      g_min_steps = 0;
      g_last_limit_hit = LIMIT_NONE;
      debug_printf("[IDLE] Offset 60mm completado. Nuevo origen pos=0 (steps=%ld)\r\n", (long)g_pos_steps);
      // seguimos con la lógica normal para entrar a RUNNING
    }

    // 3) Todo listo → arrancar RUNNING automáticamente
    Steppers_SetStepFreq_Hz(0.0f);
    float f = Compute_Stepper_Freq_From_DC(&cfg);

    // Reset de contadores de pasada y banderas de límites
    g_traverse_passes_done = 0;
    g_last_limit_hit = LIMIT_NONE;

    // Nos aseguramos de ir alejándonos de HOME
    g_run_dir = 0;
    Steppers_SetDir(g_run_dir);        // mismo comentario, invertí si hace falta
    Steppers_SetStepFreq_Hz(f);

    debug_printf("[IDLE] RUN request -> RUNNING\r\n");

    SetState(STATE_RUNNING, "arranque de ciclo");
    break;
  }

  case STATE_RUNNING:
  {

    // Log periódico de avance: posición actual y distancia al próximo rebote
    static uint32_t s_last_run_log_ms = 0;

    DC_StartForward(cfg.hbridge_duty_0_to_1);

    // Rearmar detección de límite solo tras haberse alejado del borde
    if (g_last_limit_hit != LIMIT_NONE) {
      if ((g_pos_steps > g_min_steps + g_limit_clear_steps) &&
          (g_pos_steps < g_max_steps - g_limit_clear_steps)) {
        g_last_limit_hit = LIMIT_NONE;
      }
    }

    // Chequeo de límites
    LimitHit_t hit = LIMIT_NONE;
    uint8_t next_dir = g_run_dir;
    if (g_pos_steps >= g_max_steps) {
      hit = LIMIT_MAX;
      next_dir = 1;                 //  1 va a home. volver hacia HOME
      g_pos_steps = g_max_steps;    // clamp
    } else if (g_pos_steps <= g_min_steps) {
      hit = LIMIT_MIN;
      next_dir = 0;                 // 0 se aleja de home .alejarse de HOME
      g_pos_steps = g_min_steps;    // clamp
    }

    if (hit != LIMIT_NONE && hit != g_last_limit_hit) {
      g_last_limit_hit = hit;
      g_traverse_passes_done++;
      g_run_dir = next_dir;

      // Pequeña pausa para amortiguar el rebote mecánico
     // Steppers_SetStepFreq_Hz(FSTEP_RUN_HZ);
      HAL_Delay(BOUNCE_DWELL_MS);

      // Log rebote una sola vez por evento de límite
      debug_printf("[RUNNING] Limite %s -> rebote dir=%u, pasada=%lu\r\n",
                   (hit == LIMIT_MAX) ? "MAX" : "MIN",
                   g_run_dir,
                   (unsigned long)g_traverse_passes_done);

      if (cfg.traverse_passes_target > 0 &&
          g_traverse_passes_done >= cfg.traverse_passes_target) {
        Steppers_SetStepFreq_Hz(0.0f);
        DC_Brake();
        g_run_requested = 0;
        g_homed_done = 0;     // queremos volver a homing
        s_backoff_done = 0;
        SetState(STATE_HOMING, "RUN completo -> volver a HOME");
        debug_printf(">> Run completo (%lu pasadas). Estado: HOMING\r\n",
                     (unsigned long)g_traverse_passes_done);
        break;
      }
    }

    // Velocidad calculada desde los parámetros de bobinado
    float f = Compute_Stepper_Freq_From_DC(&cfg);

    // Dirección de avance según el sentido actual
    Steppers_SetDir(g_run_dir);            // invertir si ves que va para el otro lado

    // Aplicar frecuencia calculada
    Steppers_SetStepFreq_Hz(f);

    // Telemetría: cuánto nos movimos y cuánto falta para rebotar
    uint32_t now_ms = HAL_GetTick();
    if (now_ms - s_last_run_log_ms >= 200) { // ~5 Hz para no saturar UART
      s_last_run_log_ms = now_ms;
      float k_spmm = steps_per_mm(&cfg);
      if (k_spmm < 1e-6f) k_spmm = 1.0f; // evitar div por cero si config inválida

      // Copias locales para evitar inconsistencias mientras se actualizan en la ISR
      int32_t pos_steps = g_pos_steps;
      int32_t min_steps = g_min_steps;
      int32_t max_steps = g_max_steps;

      // Escalado x10 para imprimir con enteros (evita %f en printf)
      int32_t pos_mm10         = (int32_t)lroundf(((float)pos_steps / k_spmm) * 10.0f);
      int32_t dist_to_min_mm10 = (int32_t)lroundf(((float)(pos_steps - min_steps) / k_spmm) * 10.0f);
      if (dist_to_min_mm10 < 0) dist_to_min_mm10 = 0;
      int32_t dist_to_max_mm10 = (int32_t)lroundf(((float)(max_steps - pos_steps) / k_spmm) * 10.0f);
      if (dist_to_max_mm10 < 0) dist_to_max_mm10 = 0;
      int32_t dist_to_next_mm10 = g_run_dir ? dist_to_min_mm10 : dist_to_max_mm10;
      int32_t f_hz10 = (int32_t)lroundf(f * 10.0f);

      debug_printf("[RUNNING] pos=%ld.%01ldmm dir=%u f=%ld.%01ldHz -> faltan %ld.%01ldmm al rebote (min=%ld.%01ld, max=%ld.%01ld) steps=%ld\r\n",
                   (long)(pos_mm10 / 10), (long)(labs(pos_mm10) % 10),
                   g_run_dir,
                   (long)(f_hz10 / 10), (long)(labs(f_hz10) % 10),
                   (long)(dist_to_next_mm10 / 10), (long)(labs(dist_to_next_mm10) % 10),
                   (long)(dist_to_min_mm10 / 10), (long)(labs(dist_to_min_mm10) % 10),
                   (long)(dist_to_max_mm10 / 10), (long)(labs(dist_to_max_mm10) % 10),
                   (long)pos_steps);
    }

    break;
  }

  default:
    g_state = STATE_HOMING;
    break;
  }
}

void HAL_TIM_PeriodElapsedCallback(TIM_HandleTypeDef *htim)
{
  if (htim->Instance == TIM2)
  {
    // Si el stepper está parado, no contamos posición (evita drift por PWM del DC)
    if (g_step_freq_hz <= 0.0f) return;

    // Siempre actualizamos la posición del carro
    // g_step_dir = 1 significa que vamos hacia HOME (decrementa pos)
    if (g_step_dir)
      g_pos_steps--;
    else
      g_pos_steps++;
  }
}

/* USER CODE END 4 */

void Error_Handler(void)
{
  __disable_irq();
  while (1)
  {
  }
}
